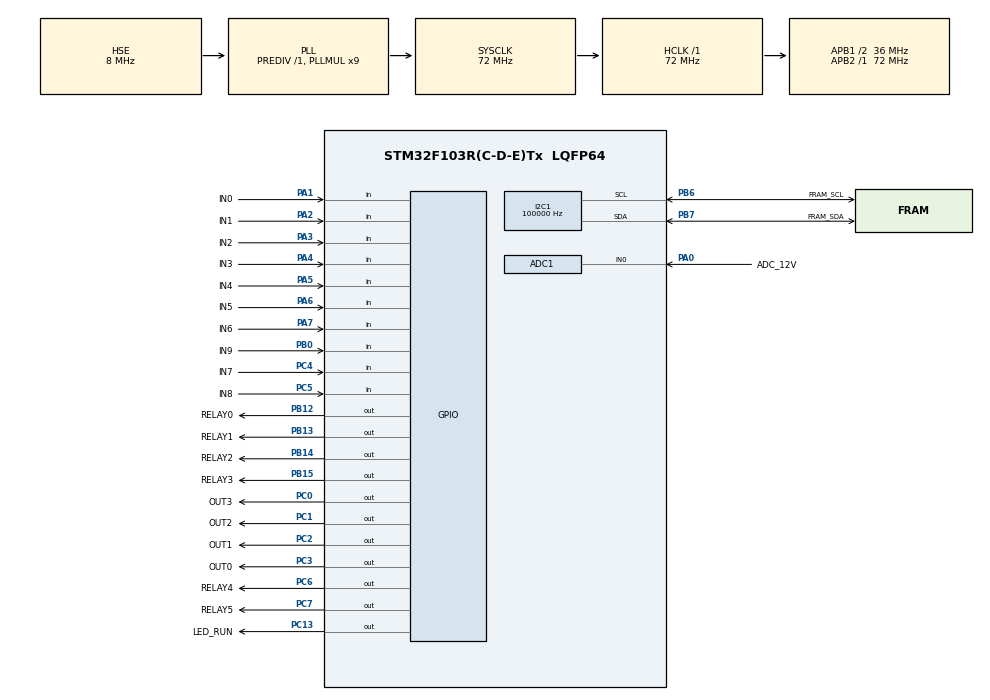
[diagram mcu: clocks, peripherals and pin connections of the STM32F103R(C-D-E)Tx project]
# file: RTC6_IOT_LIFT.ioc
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ADC1.Channel-0\#ChannelRegularConversion=ADC_CHANNEL_0
ADC1.NbrOfConversion=1
ADC1.NbrOfConversionFlag=1
ADC1.Rank-0\#ChannelRegularConversion=1
ADC1.SamplingTime-0\#ChannelRegularConversion=ADC_SAMPLETIME_239CYCLES_5
ADC1.master=1
FREERTOS.Tasks01=defaultTask,24,128,StartDefaultTask,Default,NULL,Dynamic,NULL,NULL
I2C1.ClockSpeed=100000
I2C1.DutyCycle=I2C_DUTYCYCLE_2
Mcu.Family=STM32F1
Mcu.Name=STM32F103R(C-D-E)Tx
Mcu.Package=LQFP64
NVIC.PriorityGroup=NVIC_PRIORITYGROUP_4
NVIC.TIM8_UP_IRQn=true\:15\:0\:false\:false\:true\:false\:false\:true\:true
NVIC.TimeBase=TIM8_UP_IRQn
NVIC.TimeBaseIP=TIM8
PA0-WKUP.GPIO_Label=ADC_12V
PA0-WKUP.Signal=ADCx_IN0
PA1.GPIO_Label=IN0
PA1.Signal=GPIO_Input
PA13.Mode=Serial_Wire
PA13.Signal=SYS_JTMS-SWDIO
PA14.Mode=Serial_Wire
PA14.Signal=SYS_JTCK-SWCLK
PA2.GPIO_Label=IN1
PA2.Signal=GPIO_Input
PA3.GPIO_Label=IN2
PA3.Signal=GPIO_Input
PA4.GPIO_Label=IN3
PA4.Signal=GPIO_Input
PA5.GPIO_Label=IN4
PA5.Signal=GPIO_Input
PA6.GPIO_Label=IN5
PA6.Signal=GPIO_Input
PA7.GPIO_Label=IN6
PA7.Signal=GPIO_Input
PB0.GPIO_Label=IN9
PB0.Signal=GPIO_Input
PB12.GPIO_Label=RELAY0
PB12.PinState=GPIO_PIN_RESET
PB12.Signal=GPIO_Output
PB13.GPIO_Label=RELAY1
PB13.PinState=GPIO_PIN_RESET
PB13.Signal=GPIO_Output
PB14.GPIO_Label=RELAY2
PB14.PinState=GPIO_PIN_RESET
PB14.Signal=GPIO_Output
PB15.GPIO_Label=RELAY3
PB15.PinState=GPIO_PIN_RESET
PB15.Signal=GPIO_Output
PB6.GPIO_Label=FRAM_SCL
PB6.Mode=I2C
PB6.Signal=I2C1_SCL
PB7.GPIO_Label=FRAM_SDA
PB7.Mode=I2C
PB7.Signal=I2C1_SDA
PC0.GPIO_Label=OUT3
PC0.PinState=GPIO_PIN_RESET
PC0.Signal=GPIO_Output
PC1.GPIO_Label=OUT2
PC1.PinState=GPIO_PIN_RESET
PC1.Signal=GPIO_Output
PC13-TAMPER-RTC.GPIO_Label=LED_RUN
PC13-TAMPER-RTC.PinState=GPIO_PIN_RESET
PC13-TAMPER-RTC.Signal=GPIO_Output
PC2.GPIO_Label=OUT1
PC2.PinState=GPIO_PIN_RESET
PC2.Signal=GPIO_Output
PC3.GPIO_Label=OUT0
PC3.PinState=GPIO_PIN_RESET
PC3.Signal=GPIO_Output
PC4.GPIO_Label=IN7
PC4.Signal=GPIO_Input
PC5.GPIO_Label=IN8
PC5.Signal=GPIO_Input
PC6.GPIO_Label=RELAY4
PC6.PinState=GPIO_PIN_RESET
PC6.Signal=GPIO_Output
PC7.GPIO_Label=RELAY5
PC7.PinState=GPIO_PIN_RESET
PC7.Signal=GPIO_Output
PD0-OSC_IN.Mode=HSE-External-Oscillator
PD0-OSC_IN.Signal=RCC_OSC_IN
PD1-OSC_OUT.Mode=HSE-External-Oscillator
PD1-OSC_OUT.Signal=RCC_OSC_OUT
ProjectManager.HeapSize=0x200
ProjectManager.StackSize=0x400
ProjectManager.TargetToolchain=MDK-ARM V5.32
RCC.ADCPresc=RCC_ADCPCLK2_DIV6
RCC.AHBFreq_Value=72000000
RCC.APB1CLKDivider=RCC_HCLK_DIV2
RCC.APB1Freq_Value=36000000
RCC.APB1TimFreq_Value=72000000
RCC.APB2Freq_Value=72000000
RCC.APB2TimFreq_Value=72000000
RCC.HCLKFreq_Value=72000000
RCC.PLLMUL=RCC_PLL_MUL9
RCC.PLLSourceVirtual=RCC_PLLSOURCE_HSE
RCC.SYSCLKFreq_VALUE=72000000
RCC.SYSCLKSource=RCC_SYSCLKSOURCE_PLLCLK
RCC.USBFreq_Value=72000000
SH.ADCx_IN0.0=ADC1_IN0,IN0
VP_FREERTOS_VS_CMSIS_V2.Mode=CMSIS_V2
VP_SYS_VS_tim8.Mode=TIM8
board=custom

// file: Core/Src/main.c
/* USER CODE BEGIN Header */
/**
  ******************************************************************************
  * @file           : main.c
  * @brief          : Main program body
  ******************************************************************************
  * @attention
  *
  * Copyright (c) 2026 STMicroelectronics.
  * All rights reserved.
  *
  * This software is licensed under terms that can be found in the LICENSE file
  * in the root directory of this software component.
  * If no LICENSE file comes with this software, it is provided AS-IS.
  *
  ******************************************************************************
  */
/* USER CODE END Header */
#include "main.h"
#include "adc.h"
#include "i2c.h"
#include "gpio.h"

/* USER CODE BEGIN Includes */
#include "FreeRTOS.h"
#include "task.h"
#include "SEGGER_RTT.h"
#include "elog.h"
#include "app_min_sys.h"
/* USER CODE END Includes */

void SystemClock_Config(void);
void MX_FREERTOS_Init(void);

int main(void)
{

  /* MCU Configuration--------------------------------------------------------*/

  /* Reset of all peripherals, Initializes the Flash interface and the Systick. */
  HAL_Init();

  /* Configure the system clock */
  SystemClock_Config();

  /* Initialize all configured peripherals */
  MX_GPIO_Init();
  MX_ADC1_Init();
  MX_I2C1_Init();
  /* USER CODE BEGIN 2 */
  SEGGER_RTT_Init();
  (void)elog_init();
  elog_set_fmt(ELOG_LVL_ASSERT, ELOG_FMT_LVL | ELOG_FMT_TAG | ELOG_FMT_TIME);
  elog_set_fmt(ELOG_LVL_ERROR,  ELOG_FMT_LVL | ELOG_FMT_TAG | ELOG_FMT_TIME);
  elog_set_fmt(ELOG_LVL_WARN,   ELOG_FMT_LVL | ELOG_FMT_TAG | ELOG_FMT_TIME);
  elog_set_fmt(ELOG_LVL_INFO,   ELOG_FMT_LVL | ELOG_FMT_TAG | ELOG_FMT_TIME);
  elog_set_fmt(ELOG_LVL_DEBUG,  ELOG_FMT_LVL | ELOG_FMT_TAG | ELOG_FMT_TIME);
  elog_start();

  if (App_MinSys_Init() == 0U)
  {
    elog_e("SYS", "[SYS] minimum system device init failed");
    Error_Handler();
  }

  elog_a("CLOCK",
         "[CLOCK] sys=%lu hclk=%lu pclk1=%lu pclk2=%lu adc=%lu rtos_tick=%lu",
         (unsigned long)HAL_RCC_GetSysClockFreq(),
         (unsigned long)HAL_RCC_GetHCLKFreq(),
         (unsigned long)HAL_RCC_GetPCLK1Freq(),
         (unsigned long)HAL_RCC_GetPCLK2Freq(),
         (unsigned long)HAL_RCCEx_GetPeriphCLKFreq(RCC_PERIPHCLK_ADC),
         (unsigned long)configTICK_RATE_HZ);
  elog_i("SYS", "[SYS] uid=%08lX-%08lX-%08lX adc_cal=%u outputs=safe_off",
         (unsigned long)HAL_GetUIDw0(),
         (unsigned long)HAL_GetUIDw1(),
         (unsigned long)HAL_GetUIDw2(),
         (unsigned int)MinSys_Is_Adc_Ready());
  /* USER CODE END 2 */

  /* Init scheduler */
  MX_FREERTOS_Init();

  /* Start scheduler */
  vTaskStartScheduler();

  /* We should never get here as control is now taken by the scheduler */

  /* Infinite loop */
  while (1)
  {

  }
}

void SystemClock_Config(void)
{
  RCC_OscInitTypeDef RCC_OscInitStruct = {0};
  RCC_ClkInitTypeDef RCC_ClkInitStruct = {0};
  RCC_PeriphCLKInitTypeDef PeriphClkInit = {0};

  /** Initializes the RCC Oscillators according to the specified parameters
  * in the RCC_OscInitTypeDef structure.
  */
  RCC_OscInitStruct.OscillatorType = RCC_OSCILLATORTYPE_HSE;
  RCC_OscInitStruct.HSEState = RCC_HSE_ON;
  RCC_OscInitStruct.HSEPredivValue = RCC_HSE_PREDIV_DIV1;
  RCC_OscInitStruct.HSIState = RCC_HSI_ON;
  RCC_OscInitStruct.PLL.PLLState = RCC_PLL_ON;
  RCC_OscInitStruct.PLL.PLLSource = RCC_PLLSOURCE_HSE;
  RCC_OscInitStruct.PLL.PLLMUL = RCC_PLL_MUL9;
  if (HAL_RCC_OscConfig(&RCC_OscInitStruct) != HAL_OK)
  {
    Error_Handler();
  }

  /** Initializes the CPU, AHB and APB buses clocks
  */
  RCC_ClkInitStruct.ClockType = RCC_CLOCKTYPE_HCLK|RCC_CLOCKTYPE_SYSCLK
                              |RCC_CLOCKTYPE_PCLK1|RCC_CLOCKTYPE_PCLK2;
  RCC_ClkInitStruct.SYSCLKSource = RCC_SYSCLKSOURCE_PLLCLK;
  RCC_ClkInitStruct.AHBCLKDivider = RCC_SYSCLK_DIV1;
  RCC_ClkInitStruct.APB1CLKDivider = RCC_HCLK_DIV2;
  RCC_ClkInitStruct.APB2CLKDivider = RCC_HCLK_DIV1;

  if (HAL_RCC_ClockConfig(&RCC_ClkInitStruct, FLASH_LATENCY_2) != HAL_OK)
  {
    Error_Handler();
  }
  PeriphClkInit.PeriphClockSelection = RCC_PERIPHCLK_ADC;
  PeriphClkInit.AdcClockSelection = RCC_ADCPCLK2_DIV6;
  if (HAL_RCCEx_PeriphCLKConfig(&PeriphClkInit) != HAL_OK)
  {
    Error_Handler();
  }
}

void HAL_TIM_PeriodElapsedCallback(TIM_HandleTypeDef *htim)
{
  if (htim->Instance == TIM8)
  {
    HAL_IncTick();
  }
}

void Error_Handler(void)
{
  /* USER CODE BEGIN Error_Handler_Debug */
  MinSys_Safe_Off();
  SEGGER_RTT_WriteString(0, "E/SYS [SYS] Error_Handler\r\n");
  __disable_irq();
  while (1)
  {
  }
  /* USER CODE END Error_Handler_Debug */
}

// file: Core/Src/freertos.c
/* USER CODE BEGIN Header */
/**
  ******************************************************************************
  * File Name          : freertos.c
  * Description        : Code for freertos applications
  ******************************************************************************
  * @attention
  *
  * Copyright (c) 2026 STMicroelectronics.
  * All rights reserved.
  *
  * This software is licensed under terms that can be found in the LICENSE file
  * in the root directory of this software component.
  * If no LICENSE file comes with this software, it is provided AS-IS.
  *
  ******************************************************************************
  */
/* USER CODE END Header */

#include "FreeRTOS.h"
#include "task.h"
#include "main.h"

/* USER CODE BEGIN Includes */
#include "SEGGER_RTT.h"
#include "elog.h"
#include "app_min_sys.h"
#include "dri_min_sys.h"
/* USER CODE END Includes */

void MX_FREERTOS_Init(void); /* (MISRA C 2004 rule 8.1) */

void MX_FREERTOS_Init(void)
{

  /* USER CODE BEGIN RTOS_THREADS */
  if (MinSys_Task_Create() != pdPASS)
  {
    MinSys_Safe_Off();
    elog_e("TASK", "[TASK] scheduler not started because task creation failed");
    Error_Handler();
  }
  /* USER CODE END RTOS_THREADS */

}

/* USER CODE BEGIN Application */

void vApplicationMallocFailedHook(void)
{
  MinSys_Safe_Off();
  SEGGER_RTT_WriteString(0, "E/MEM [MEM] FreeRTOS malloc failed\r\n");
  taskDISABLE_INTERRUPTS();
  while (1)
  {
  }
}

void vApplicationStackOverflowHook(TaskHandle_t task, char *task_name)
{
  (void)task;
  (void)task_name;
  MinSys_Safe_Off();
  SEGGER_RTT_WriteString(0, "E/MEM [MEM] FreeRTOS stack overflow\r\n");
  taskDISABLE_INTERRUPTS();
  while (1)
  {
  }
}

void vApplicationGetIdleTaskMemory(StaticTask_t **task_buffer,
                                   StackType_t **stack_buffer,
                                   uint32_t *stack_size)
{
  static StaticTask_t idle_task_buffer;
  static StackType_t idle_stack[configMINIMAL_STACK_SIZE];

  *task_buffer = &idle_task_buffer;
  *stack_buffer = idle_stack;
  *stack_size = configMINIMAL_STACK_SIZE;
}

void vApplicationGetTimerTaskMemory(StaticTask_t **task_buffer,
                                    StackType_t **stack_buffer,
                                    uint32_t *stack_size)
{
  static StaticTask_t timer_task_buffer;
  static StackType_t timer_stack[configTIMER_TASK_STACK_DEPTH];

  *task_buffer = &timer_task_buffer;
  *stack_buffer = timer_stack;
  *stack_size = configTIMER_TASK_STACK_DEPTH;
}

/* USER CODE END Application */
